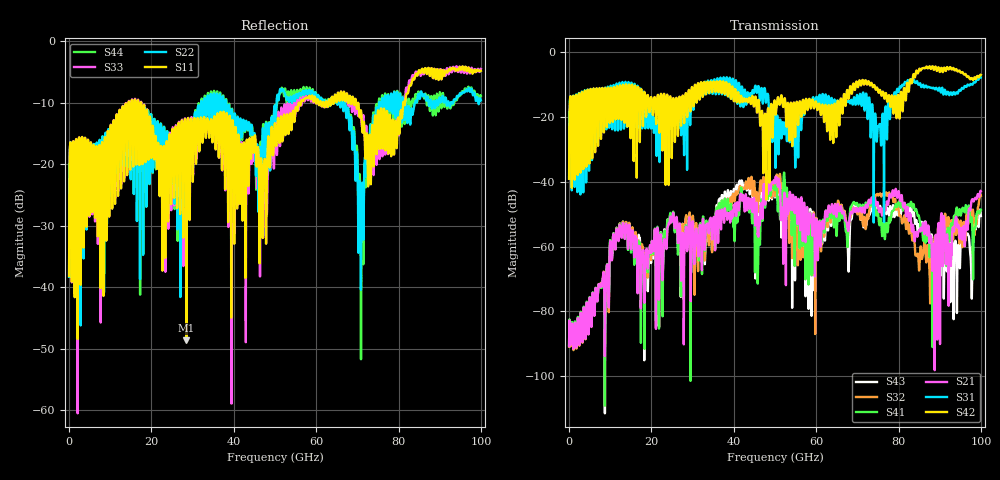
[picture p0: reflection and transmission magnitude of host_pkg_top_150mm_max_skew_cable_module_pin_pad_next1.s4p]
# Hz S RI R 50
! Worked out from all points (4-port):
!   10000 points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, 10 MHz to 100 GHz, reference 50 ohm
!   strongest paths, dB at 10 MHz, 25.01 GHz, 50.01 GHz, 75.01 GHz, 100 GHz:
!     S42: -39.1, -23.6, -16.0, -11.7, -6.9
!     S31: -38.9, -20.6, -24.0, -22.9, -7.8
!     S21: -90.8, -52.0, -40.2, -46.7, -42.9
!     S41: -90.5, -52.3, -42.0, -49.7, -48.6
!     S32: -90.9, -51.8, -44.3, -44.1, -44.3
!     S43: -90.7, -52.2, -44.8, -48.0, -50.6
!   lowest |S11| = -48.6 dB at 28.49 GHz (marker M1), VSWR 1.01, Z = 49.6 - j0.058 ohm
!   |S11| at or under -10 dB: start of sweep to 14.43 GHz; 17.49 GHz to 55.78 GHz (38.29 GHz wide, 105 % of centre); 69.69 GHz to 81.16 GHz (11.47 GHz wide, 15.2 % of centre)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
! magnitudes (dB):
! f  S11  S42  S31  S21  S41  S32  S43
! 10 MHz  -38.2  -39.1  -38.9  -90.8  -90.5  -90.9  -90.7
! 12.68 GHz  -19.0  -18.0  -15.7  -56.0  -55.9  -55.8  -55.7
! 28.49 GHz  -48.6  -14.2  -18.2  -55.9  -57.0  -50.4  -51.0
! 50.08 GHz  -14.7  -17.9  -31.7  -39.1  -41.0  -41.7  -43.2
! 71.14 GHz  -13.8  -8.8  -15.5  -49.1  -48.1  -50.3  -50.3
! 92.42 GHz  -4.7  -4.7  -13.1  -59.4  -58.4  -55.4  -62.4
! 100 GHz  -4.8  -6.9  -7.8  -42.9  -48.6  -44.3  -50.6
